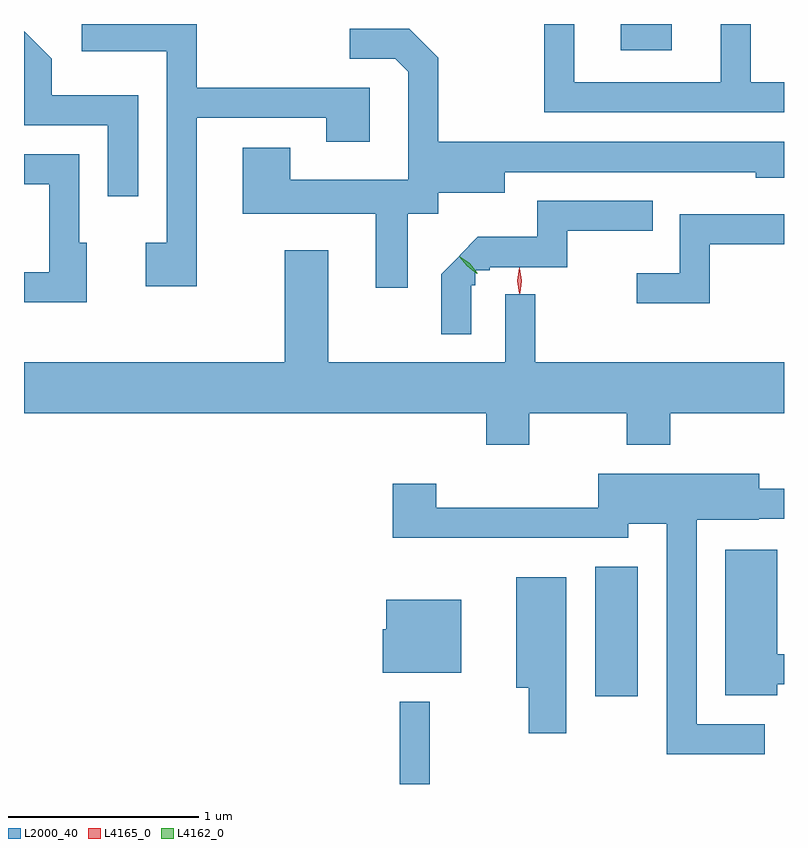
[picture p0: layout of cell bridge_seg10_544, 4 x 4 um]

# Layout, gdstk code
import gdstk
lib = gdstk.Library(unit=1e-6, precision=1e-09)
def R(c, l, rs):  # rectangles x0, y0, x1, y1
    for r in rs: c.add(gdstk.rectangle(r[:2], r[2:], *l))
def P(c, l, *ps):  # polygons
    for p in ps: c.add(gdstk.Polygon(p, *l))
L2000_40 = (2000, 40)
L4162_0 = (4162, 0)
L4165_0 = (4165, 0)

bridge_seg10_544 = lib.new_cell('bridge_seg10_544')
R(bridge_seg10_544, L2000_40, [(831.406,2163.025,831.564,2163.458), (832.436,2163.486,832.659,2164.169), (832.571,2166.886,832.839,2167.025)])
P(bridge_seg10_544, L2000_40, [(833.429,2166.719),(833.254,2166.719),(833.254,2167.025),(833.096,2167.025),(833.096,2166.719),(832.324,2166.719),(832.324,2167.025),(832.166,2167.025),(832.166,2166.561),(833.429,2166.561)],
  [(830.339,2166.531),(831.021,2166.531),(831.021,2166.406),(831.249,2166.406),(831.249,2166.689),(830.339,2166.689),(830.339,2167.025),(829.733,2167.025),(829.733,2166.881),(830.181,2166.881),(830.181,2165.874),(830.071,2165.874),(830.071,2165.646),(830.339,2165.646)],
  [(831.449,2166.026),(831.609,2166.026),(831.609,2166.136),(831.959,2166.136),(831.959,2166.246),(833.281,2166.246),(833.281,2166.216),(833.429,2166.216),(833.429,2166.404),(831.609,2166.404),(831.609,2166.847),(831.457,2166.999),(831.143,2166.999),(831.143,2166.841),(831.384,2166.841),(831.451,2166.774),(831.451,2166.204),(830.829,2166.204),(830.829,2166.374),(830.581,2166.374),(830.581,2166.026),(831.281,2166.026),(831.281,2165.638),(831.449,2165.638)],
  [(830.029,2166.649),(829.574,2166.649),(829.574,2166.842),(829.429,2166.987),(829.429,2166.491),(829.871,2166.491),(829.871,2166.118),(830.029,2166.118)],
  [(829.759,2165.874),(829.719,2165.874),(829.719,2166.339),(829.429,2166.339),(829.429,2166.181),(829.561,2166.181),(829.561,2165.719),(829.429,2165.719),(829.429,2165.561),(829.759,2165.561)],
  [(831.784,2165.65),(831.803,2165.65),(831.803,2165.728),(831.88,2165.728),(831.88,2165.746),(832.289,2165.746),(832.289,2165.936),(832.738,2165.936),(832.738,2166.094),(832.131,2166.094),(832.131,2165.904),(831.818,2165.904),(831.722,2165.808),(831.724,2165.807),(831.626,2165.709),(831.626,2165.393),(831.784,2165.393)],
  [(833.039,2165.866),(833.429,2165.866),(833.429,2166.024),(832.881,2166.024),(832.881,2165.714),(832.653,2165.714),(832.653,2165.556),(833.039,2165.556)],
  [(832.089,2164.976),(832.601,2164.976),(832.601,2164.811),(832.829,2164.811),(832.829,2164.976),(833.429,2164.976),(833.429,2165.244),(832.119,2165.244),(832.119,2165.603),(831.961,2165.603),(831.961,2165.244),(831.029,2165.244),(831.029,2165.834),(830.801,2165.834),(830.801,2165.244),(829.429,2165.244),(829.429,2164.976),(831.861,2164.976),(831.861,2164.811),(832.089,2164.811)],
  [(833.328,2163.339),(832.969,2163.339),(832.969,2164.416),(833.295,2164.416),(833.295,2164.421),(833.429,2164.421),(833.429,2164.579),(833.299,2164.579),(833.299,2164.659),(832.451,2164.659),(832.451,2164.479),(831.599,2164.479),(831.599,2164.604),(831.371,2164.604),(831.371,2164.321),(832.609,2164.321),(832.609,2164.396),(832.811,2164.396),(832.811,2163.181),(833.328,2163.181)],
  [(833.394,2163.551),(833.429,2163.551),(833.429,2163.709),(833.394,2163.709),(833.394,2164.259),(833.121,2164.259),(833.121,2163.491),(833.394,2163.491)],
  [(832.284,2164.114),(832.021,2164.114),(832.021,2163.531),(832.086,2163.531),(832.086,2163.291),(832.284,2163.291)],
  [(831.729,2163.994),(831.336,2163.994),(831.336,2163.839),(831.316,2163.839),(831.316,2163.611),(831.729,2163.611)])
P(bridge_seg10_544, L4162_0, [(831.813,2165.716),(831.763,2165.751),(831.725,2165.799),(831.725,2165.8),(831.726,2165.8),(831.776,2165.765),(831.814,2165.717),(831.814,2165.716)],
  [(831.813,2165.711),(831.761,2165.749),(831.721,2165.8),(831.721,2165.801),(831.722,2165.801),(831.774,2165.763),(831.814,2165.712),(831.814,2165.711)])
P(bridge_seg10_544, L4165_0, [(832.036,2165.604),(832.035,2165.605),(832.026,2165.674),(832.035,2165.743),(832.036,2165.743),(832.036,2165.743),(832.046,2165.674),(832.036,2165.605)],
  [(832.039,2165.608),(832.039,2165.608),(832.029,2165.674),(832.038,2165.74),(832.039,2165.741),(832.039,2165.74),(832.049,2165.674),(832.04,2165.608)])

lib.write_gds('bridge_seg10_544.gds')
